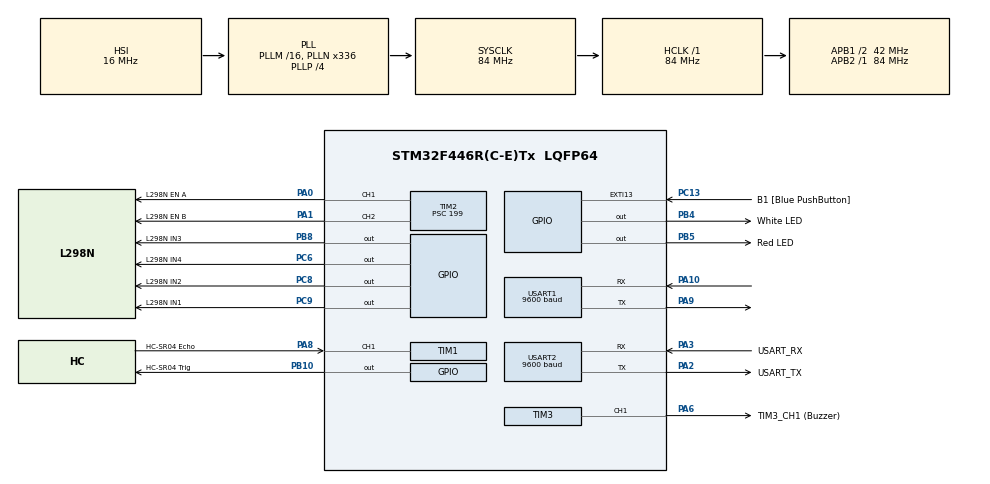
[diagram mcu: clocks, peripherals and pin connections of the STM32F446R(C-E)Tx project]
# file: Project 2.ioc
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Mcu.Family=STM32F4
Mcu.Name=STM32F446R(C-E)Tx
Mcu.Package=LQFP64
NVIC.PriorityGroup=NVIC_PRIORITYGROUP_0
NVIC.TIM1_CC_IRQn=true\:0\:0\:false\:false\:true\:true\:true\:true
NVIC.USART1_IRQn=true\:0\:0\:false\:false\:true\:true\:true\:true
NVIC.USART2_IRQn=true\:0\:0\:false\:false\:true\:true\:true\:true
PA0-WKUP.GPIO_Label=L298N EN A
PA0-WKUP.Signal=S_TIM2_CH1_ETR
PA1.GPIO_Label=L298N EN B
PA1.Signal=S_TIM2_CH2
PA10.Mode=Asynchronous
PA10.Signal=USART1_RX
PA13.GPIO_Label=TMS
PA13.Mode=Serial_Wire
PA13.Signal=SYS_JTMS-SWDIO
PA14.GPIO_Label=TCK
PA14.Mode=Serial_Wire
PA14.Signal=SYS_JTCK-SWCLK
PA2.GPIO_Label=USART_TX
PA2.Mode=Asynchronous
PA2.Signal=USART2_TX
PA3.GPIO_Label=USART_RX
PA3.Mode=Asynchronous
PA3.Signal=USART2_RX
PA6.GPIO_Label=TIM3_CH1 (Buzzer)
PA6.Signal=S_TIM3_CH1
PA8.GPIO_Label=HC-SR04 Echo
PA8.Signal=S_TIM1_CH1
PA9.Mode=Asynchronous
PA9.Signal=USART1_TX
PB10.GPIO_Label=HC-SR04 Trig
PB10.Signal=GPIO_Output
PB3.GPIO_Label=SWO
PB3.Signal=SYS_JTDO-SWO
PB4.GPIO_Label=White LED 
PB4.Signal=GPIO_Output
PB5.GPIO_Label=Red LED
PB5.Signal=GPIO_Output
PB8.GPIO_Label=L298N IN3
PB8.Signal=GPIO_Output
PC13.GPIO_Label=B1 [Blue PushButton]
PC13.GPIO_ModeDefaultEXTI=GPIO_MODE_IT_FALLING
PC13.Signal=GPXTI13
PC14-OSC32_IN.Signal=RCC_OSC32_IN
PC15-OSC32_OUT.Signal=RCC_OSC32_OUT
PC6.GPIO_Label=L298N IN4
PC6.Signal=GPIO_Output
PC8.GPIO_Label=L298N IN2
PC8.Signal=GPIO_Output
PC9.GPIO_Label=L298N IN1
PC9.Signal=GPIO_Output
PH0-OSC_IN.Mode=HSE-External-Oscillator
PH0-OSC_IN.Signal=RCC_OSC_IN
PH1-OSC_OUT.Mode=HSE-External-Oscillator
PH1-OSC_OUT.Signal=RCC_OSC_OUT
ProjectManager.HeapSize=0x200
ProjectManager.StackSize=0x400
ProjectManager.TargetToolchain=STM32CubeIDE
RCC.48MHZClocksFreq_Value=84000000
RCC.AHBFreq_Value=84000000
RCC.APB1CLKDivider=RCC_HCLK_DIV2
RCC.APB1Freq_Value=42000000
RCC.APB1TimFreq_Value=84000000
RCC.APB2Freq_Value=84000000
RCC.APB2TimFreq_Value=84000000
RCC.CortexFreq_Value=84000000
RCC.FLatency-AdvancedSettings=FLASH_LATENCY_2
RCC.HCLKFreq_Value=84000000
RCC.HSE_VALUE=8000000
RCC.HSI_VALUE=16000000
RCC.PLLN=336
RCC.PLLP=RCC_PLLP_DIV4
RCC.SYSCLKFreq_VALUE=84000000
RCC.SYSCLKSource=RCC_SYSCLKSOURCE_PLLCLK
RCC.USBFreq_Value=168000000
RCC.VCOOutputFreq_Value=336000000
SH.S_TIM1_CH1.0=TIM1_CH1,Input_Capture1_from_TI1
SH.S_TIM2_CH1_ETR.0=TIM2_CH1,PWM Generation1 CH1
SH.S_TIM2_CH2.0=TIM2_CH2,PWM Generation2 CH2
SH.S_TIM3_CH1.0=TIM3_CH1,PWM Generation1 CH1
TIM1.Channel-Input_Capture1_from_TI1=TIM_CHANNEL_1
TIM1.Period=0xffff-1
TIM1.Prescaler=84-1
TIM2.Channel-PWM\ Generation1\ CH1=TIM_CHANNEL_1
TIM2.Channel-PWM\ Generation2\ CH2=TIM_CHANNEL_2
TIM2.Period=839
TIM2.Prescaler=199
TIM3.Channel-PWM\ Generation1\ CH1=TIM_CHANNEL_1
TIM3.Prescaler=83
USART1.BaudRate=9600
USART1.VirtualMode=VM_ASYNC
USART2.BaudRate=9600
USART2.VirtualMode=VM_ASYNC
VP_TIM1_VS_ClockSourceINT.Mode=Internal
VP_TIM2_VS_ClockSourceINT.Mode=Internal
VP_TIM3_VS_ClockSourceINT.Mode=Internal
board=NUCLEO-F446RE

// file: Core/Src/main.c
/* USER CODE BEGIN Header */
/**
 ******************************************************************************
 * @file           : main.c
 * @brief          : Main program body
 ******************************************************************************
 * @attention
 *
 * Copyright (c) 2026 STMicroelectronics.
 * All rights reserved.
 *
 * This software is licensed under terms that can be found in the LICENSE file
 * in the root directory of this software component.
 * If no LICENSE file comes with this software, it is provided AS-IS.
 *
 ******************************************************************************
 */
/* USER CODE END Header */
#include "main.h"

/* USER CODE BEGIN Includes */
#include <stdio.h>
#include <string.h>
#include <stdint.h>
/* USER CODE END Includes */

/* USER CODE BEGIN PD */
#define HCSR04_Echo_Port GPIOA
#define HCSR04_Echo_Pin GPIO_PIN_8

#define HCSR04_Trig_Port GPIOB
#define HCSR04_Trig_Pin GPIO_PIN_10

#define L298N_IN1_Port GPIOC
#define L298N_IN1_Pin GPIO_PIN_9

#define L298N_IN2_Port GPIOC
#define L298N_IN2_Pin GPIO_PIN_8

#define L298N_IN3_Port GPIOB
#define L298N_IN3_Pin GPIO_PIN_8

#define L298N_IN4_Port GPIOC
#define L298N_IN4_Pin GPIO_PIN_6

#define White_LED_Port GPIOB
#define White_LED_Pin GPIO_PIN_4

#define Red_LED_Port GPIOB
#define Red_LED_Pin GPIO_PIN_5

// Define PI for the degree-to-radian conversion
#define MAX_STEP 40
#define REVERSE_DEADTIME 15

// Maximum distance allowed from ultrasonic sensor for car to stop
#define MAXIMUM_DISTANCE 15
#define MIN_CCR 330

typedef struct {
	uint16_t CCR;
	uint8_t backwardsFlag;
	uint8_t deadtime;
} Movement;

/* USER CODE END PD */

TIM_HandleTypeDef htim1;
TIM_HandleTypeDef htim2;
TIM_HandleTypeDef htim3;

UART_HandleTypeDef huart1;
UART_HandleTypeDef huart2;

/* USER CODE BEGIN PV */
// Variables for bluetooth (HC-05) communication
uint8_t rxBuffer[10];
uint8_t rxReadyFlag = 0;
uint8_t byteCount = 0;

// Variables for ultrasonic sensor (HC-SR04)
uint8_t firstCaptureFlag = 0;
uint16_t timeValue1;
uint16_t timeValue2;
float difference;
uint8_t distance;

// Class containing CCR, direction and deadtime of each wheel side
Movement leftMovement;
Movement rightMovement;

// target CCR and movement direction
uint16_t targetLeftCCR;
uint16_t targetRightCCR;
uint8_t leftBackwardsFlag;
uint8_t rightBackwardsFlag;

// Timer tracking variable
uint32_t lastUltrasonicTime = 0;
uint32_t lastRampTime = 0;
/* USER CODE END PV */

void SystemClock_Config(void);
static void MX_GPIO_Init(void);
static void MX_USART2_UART_Init(void);
static void MX_TIM2_Init(void);
static void MX_USART1_UART_Init(void);
static void MX_TIM3_Init(void);
static void MX_TIM1_Init(void);

/* USER CODE BEGIN 0 */
int _write(int file, char *ptr, int len) {
	for (int i = 0; i < len; i++) {
		ITM_SendChar((*ptr++));
	}

	return len;
}

void set_frequency(uint32_t frequency) {

	uint32_t timer_clk = 1000000; // 1 MHz

	uint32_t arr = (timer_clk / frequency) - 1;

	__HAL_TIM_SET_AUTORELOAD(&htim3, arr);
	__HAL_TIM_SET_COMPARE(&htim3, TIM_CHANNEL_1, arr / 2);
}

void buzzer_ring() {
	HAL_TIM_PWM_Start(&htim3, TIM_CHANNEL_1);

	set_frequency(2500);
}

void buzzer_stop() {
	HAL_TIM_PWM_Stop(&htim3, TIM_CHANNEL_1);
}

void delay(uint16_t time) {
	__HAL_TIM_SET_COUNTER(&htim1, 0);

	while (__HAL_TIM_GET_COUNTER (&htim1) < time)
		;
}

void HCSR04_Read()
{
	HAL_GPIO_WritePin(HCSR04_Trig_Port, HCSR04_Trig_Pin, GPIO_PIN_SET);  // pull the TRIG pin HIGH
	delay(10);  // wait for 10 us
	HAL_GPIO_WritePin(HCSR04_Trig_Port, HCSR04_Trig_Pin, GPIO_PIN_RESET);  // pull the TRIG pin low

	__HAL_TIM_ENABLE_IT(&htim1, TIM_IT_CC1);
}

void ramp_left_motors(Movement *leftSide, uint16_t target, uint8_t backwardsFlag)
{
	// if sudden change in direction
	if ((backwardsFlag == 0 && leftSide->backwardsFlag == 1)
			|| (backwardsFlag == 1 && leftSide->backwardsFlag == 0))
			{

		// If ALREADY stopped, we can flip the direction flag safely right away
		if (leftSide->CCR == 0) {
			leftSide->backwardsFlag = backwardsFlag;
		}
		// If STILL MOVING, force target to 0 and trigger deadtime.
		else {
			target = 0;
			leftSide->deadtime = REVERSE_DEADTIME;
		}

	}

	// Give multiple cycles for motors speed to go to zero before changing direction
	if (leftSide->deadtime > 0) {
		target = 0;
		leftSide->deadtime--;

		if (leftSide->deadtime == 0 || leftSide->CCR == 0) {
			leftSide->backwardsFlag = backwardsFlag;
		}
	}

//	if (leftSide->deadtime == 0)
//			{
//		leftSide->backwardsFlag = backwardsFlag;
//	}

//	Ramping
	int16_t difference = target - leftSide->CCR;
	if (difference > MAX_STEP) {
		leftSide->CCR += MAX_STEP; // Ramping Up
	} else if (difference < -MAX_STEP) {
		leftSide->CCR -= MAX_STEP; // Ramping Down
	} else {
		leftSide->CCR = target; // Close enough, snap directly to target
	}

//	Toggle the GPIO and PWM pins base on direction / CCR
	TIM2->CCR1 = leftSide->CCR;

	// Stop
	if (leftSide->CCR == 0) {
		HAL_GPIO_WritePin(L298N_IN3_GPIO_Port, L298N_IN3_Pin, GPIO_PIN_RESET);
		HAL_GPIO_WritePin(L298N_IN4_GPIO_Port, L298N_IN4_Pin, GPIO_PIN_RESET);
	}
	//	Move forward
	else if (leftSide->backwardsFlag == 0)
			{
		HAL_GPIO_WritePin(L298N_IN3_GPIO_Port, L298N_IN3_Pin, GPIO_PIN_RESET);
		HAL_GPIO_WritePin(L298N_IN4_GPIO_Port, L298N_IN4_Pin, GPIO_PIN_SET);
	}
	//	Move backwards
	else if (leftSide->backwardsFlag == 1)
			{
		HAL_GPIO_WritePin(L298N_IN3_GPIO_Port, L298N_IN3_Pin, GPIO_PIN_SET);
		HAL_GPIO_WritePin(L298N_IN4_GPIO_Port, L298N_IN4_Pin, GPIO_PIN_RESET);
	}

}

void ramp_right_motors(Movement *rightSide, uint16_t target, uint8_t backwardsFlag)
{
	// if sudden change in direction
	if ((backwardsFlag == 0 && rightSide->backwardsFlag == 1)
			|| (backwardsFlag == 1 && rightSide->backwardsFlag == 0))
			{

		// If ALREADY stopped, we can flip the direction flag safely right away
		if (rightSide->CCR == 0) {
			rightSide->backwardsFlag = backwardsFlag;
		}
		// If STILL MOVING, force target to 0 and trigger deadtime.
		else {
			target = 0;
			rightSide->deadtime = REVERSE_DEADTIME;
		}

	}

	// Give multiple cycles for motors speed to go to zero before changing direction
	if (rightSide->deadtime > 0) {
		target = 0;
		rightSide->deadtime--;

		if (rightSide->deadtime == 0 || rightSide->CCR == 0) {
			rightSide->backwardsFlag = backwardsFlag;
		}
	}

//	Ramping
	int16_t difference = target - rightSide->CCR;
	if (difference > MAX_STEP) {
		rightSide->CCR += MAX_STEP; // Ramping Up
	} else if (difference < -MAX_STEP) {
		rightSide->CCR -= MAX_STEP; // Ramping Down
	} else {
		rightSide->CCR = target; // Close enough, snap directly to target
	}

//	Toggle the GPIO and PWM pins base on direction / CCR
	TIM2->CCR2 = rightSide->CCR;

	// Stop
	if (rightSide->CCR == 0) {
		HAL_GPIO_WritePin(L298N_IN1_GPIO_Port, L298N_IN1_Pin, GPIO_PIN_RESET);
		HAL_GPIO_WritePin(L298N_IN2_GPIO_Port, L298N_IN2_Pin, GPIO_PIN_RESET);
	}
	//	Move forward
	else if (rightSide->backwardsFlag == 0)
			{
		HAL_GPIO_WritePin(L298N_IN1_GPIO_Port, L298N_IN1_Pin, GPIO_PIN_RESET);
		HAL_GPIO_WritePin(L298N_IN2_GPIO_Port, L298N_IN2_Pin, GPIO_PIN_SET);
	}
	//	Move backwards
	else if (rightSide->backwardsFlag == 1)
			{
		HAL_GPIO_WritePin(L298N_IN1_GPIO_Port, L298N_IN1_Pin, GPIO_PIN_SET);
		HAL_GPIO_WritePin(L298N_IN2_GPIO_Port, L298N_IN2_Pin, GPIO_PIN_RESET);
	}
}

/* USER CODE END 0 */

int main(void)
{

  /* MCU Configuration--------------------------------------------------------*/

  /* Reset of all peripherals, Initializes the Flash interface and the Systick. */
  HAL_Init();

  /* Configure the system clock */
  SystemClock_Config();

  /* Initialize all configured peripherals */
  MX_GPIO_Init();
  MX_USART2_UART_Init();
  MX_TIM2_Init();
  MX_USART1_UART_Init();
  MX_TIM3_Init();
  MX_TIM1_Init();
  /* USER CODE BEGIN 2 */

	HAL_UART_Receive_IT(&huart1, rxBuffer, 1);

	HAL_TIM_PWM_Start(&htim2, TIM_CHANNEL_1);
	HAL_TIM_PWM_Start(&htim2, TIM_CHANNEL_2);
	HAL_TIM_IC_Start_IT(&htim1, TIM_CHANNEL_1);
  /* USER CODE END 2 */

  /* Infinite loop */
  /* USER CODE BEGIN WHILE */
	while (1) {

//		HCSR04_Read();
//
//		printf("Time values: %i, %i\n", timeValue1, timeValue2);
//
//		printf("Difference: %f\n", difference);
//		printf("Distance: %i\n", distance);

		if (rxReadyFlag == 1) {

//			Logic for joystick
			if (rxBuffer[0] == 1) {

//				speed used to determine PWM duty cycle
				targetLeftCCR = ((uint32_t) (rxBuffer[1] % 126) * 839) / 125;
				targetRightCCR = ((uint32_t) (rxBuffer[2] % 126) * 839) / 125;

//				Determine the direction based on the target CCR.
				//				0 -> 125 : Forward
				//				126 -> 251 : Backward
				leftBackwardsFlag = (rxBuffer[1] > 125) ? 1 : 0;
				rightBackwardsFlag = (rxBuffer[2] > 125) ? 1 : 0;

//				Ceiling function for CCR below 200 except 0. (Prevent motor from not spinning at low CCR)
				targetLeftCCR = ((targetLeftCCR < MIN_CCR) && (targetLeftCCR != 0)) ? MIN_CCR : targetLeftCCR;
				targetRightCCR = ((targetRightCCR < MIN_CCR) && (targetRightCCR != 0)) ? MIN_CCR : targetRightCCR;

				rxReadyFlag = 0;
			}

//			Logic for horn
			if (rxBuffer[0] == 2) {
//				Start horn
				if (rxBuffer[1] == 1) {
					buzzer_ring();
				}
				//				Stop horn
				else if (rxBuffer[1] == 0) {
					buzzer_stop();
					//			Reset processing flag
					rxReadyFlag = 0;
				}

			}

			//			Logic for light
			if (rxBuffer[0] == 3) {

				//				Start light
				if (rxBuffer[1] == 1) {
					HAL_GPIO_WritePin(White_LED_Port, White_LED_Pin, GPIO_PIN_SET);
				}
				//				Stop light
				else if (rxBuffer[1] == 0) {
					HAL_GPIO_WritePin(White_LED_Port, White_LED_Pin, GPIO_PIN_RESET);

				}
				//			Reset processing flag
				rxReadyFlag = 0;

			}
		}

		if (HAL_GetTick() - lastUltrasonicTime >= 60)
				{
			lastUltrasonicTime = HAL_GetTick();
			HCSR04_Read();
		}

		if (HAL_GetTick() - lastRampTime >= 20) {
			lastRampTime = HAL_GetTick();

			uint16_t finalLeftTarget = targetLeftCCR;
			uint16_t finalRightTarget = targetRightCCR;

//			If moving forward but distance is less than 15cm, stop the car and sound buzzer
			if (distance < 15 && leftBackwardsFlag == 0 && rightBackwardsFlag == 0) {
				finalLeftTarget = 0;
				finalRightTarget = 0;
				buzzer_ring();
				HAL_GPIO_WritePin(Red_LED_Port, Red_LED_Pin, GPIO_PIN_SET);

			} else if (distance >= 15) {
				buzzer_stop();
				HAL_GPIO_WritePin(Red_LED_Port, Red_LED_Pin, GPIO_PIN_RESET);
			}

//			printf("%i %i %i %i\r\n", leftMovement.CCR, leftMovement.backwardsFlag, rightMovement.CCR, rightMovement.backwardsFlag);
			// Step the ramping functions once every 20 milliseconds
			ramp_left_motors(&leftMovement, finalLeftTarget, leftBackwardsFlag);
			ramp_right_motors(&rightMovement, finalRightTarget, rightBackwardsFlag);
		}

    /* USER CODE END WHILE */

	}
}

void SystemClock_Config(void)
{
  RCC_OscInitTypeDef RCC_OscInitStruct = {0};
  RCC_ClkInitTypeDef RCC_ClkInitStruct = {0};

  /** Configure the main internal regulator output voltage
  */
  __HAL_RCC_PWR_CLK_ENABLE();
  __HAL_PWR_VOLTAGESCALING_CONFIG(PWR_REGULATOR_VOLTAGE_SCALE3);

  /** Initializes the RCC Oscillators according to the specified parameters
  * in the RCC_OscInitTypeDef structure.
  */
  RCC_OscInitStruct.OscillatorType = RCC_OSCILLATORTYPE_HSI;
  RCC_OscInitStruct.HSIState = RCC_HSI_ON;
  RCC_OscInitStruct.HSICalibrationValue = RCC_HSICALIBRATION_DEFAULT;
  RCC_OscInitStruct.PLL.PLLState = RCC_PLL_ON;
  RCC_OscInitStruct.PLL.PLLSource = RCC_PLLSOURCE_HSI;
  RCC_OscInitStruct.PLL.PLLM = 16;
  RCC_OscInitStruct.PLL.PLLN = 336;
  RCC_OscInitStruct.PLL.PLLP = RCC_PLLP_DIV4;
  RCC_OscInitStruct.PLL.PLLQ = 2;
  RCC_OscInitStruct.PLL.PLLR = 2;
  if (HAL_RCC_OscConfig(&RCC_OscInitStruct) != HAL_OK)
  {
    Error_Handler();
  }

  /** Initializes the CPU, AHB and APB buses clocks
  */
  RCC_ClkInitStruct.ClockType = RCC_CLOCKTYPE_HCLK|RCC_CLOCKTYPE_SYSCLK
                              |RCC_CLOCKTYPE_PCLK1|RCC_CLOCKTYPE_PCLK2;
  RCC_ClkInitStruct.SYSCLKSource = RCC_SYSCLKSOURCE_PLLCLK;
  RCC_ClkInitStruct.AHBCLKDivider = RCC_SYSCLK_DIV1;
  RCC_ClkInitStruct.APB1CLKDivider = RCC_HCLK_DIV2;
  RCC_ClkInitStruct.APB2CLKDivider = RCC_HCLK_DIV1;

  if (HAL_RCC_ClockConfig(&RCC_ClkInitStruct, FLASH_LATENCY_2) != HAL_OK)
  {
    Error_Handler();
  }
}

static void MX_TIM1_Init(void)
{

  TIM_ClockConfigTypeDef sClockSourceConfig = {0};
  TIM_MasterConfigTypeDef sMasterConfig = {0};
  TIM_IC_InitTypeDef sConfigIC = {0};

  htim1.Instance = TIM1;
  htim1.Init.Prescaler = 84-1;
  htim1.Init.CounterMode = TIM_COUNTERMODE_UP;
  htim1.Init.Period = 0xffff-1;
  htim1.Init.ClockDivision = TIM_CLOCKDIVISION_DIV1;
  htim1.Init.RepetitionCounter = 0;
  htim1.Init.AutoReloadPreload = TIM_AUTORELOAD_PRELOAD_DISABLE;
  if (HAL_TIM_Base_Init(&htim1) != HAL_OK)
  {
    Error_Handler();
  }
  sClockSourceConfig.ClockSource = TIM_CLOCKSOURCE_INTERNAL;
  if (HAL_TIM_ConfigClockSource(&htim1, &sClockSourceConfig) != HAL_OK)
  {
    Error_Handler();
  }
  if (HAL_TIM_IC_Init(&htim1) != HAL_OK)
  {
    Error_Handler();
  }
  sMasterConfig.MasterOutputTrigger = TIM_TRGO_RESET;
  sMasterConfig.MasterSlaveMode = TIM_MASTERSLAVEMODE_DISABLE;
  if (HAL_TIMEx_MasterConfigSynchronization(&htim1, &sMasterConfig) != HAL_OK)
  {
    Error_Handler();
  }
  sConfigIC.ICPolarity = TIM_INPUTCHANNELPOLARITY_RISING;
  sConfigIC.ICSelection = TIM_ICSELECTION_DIRECTTI;
  sConfigIC.ICPrescaler = TIM_ICPSC_DIV1;
  sConfigIC.ICFilter = 0;
  if (HAL_TIM_IC_ConfigChannel(&htim1, &sConfigIC, TIM_CHANNEL_1) != HAL_OK)
  {
    Error_Handler();
  }

}

static void MX_TIM2_Init(void)
{

  TIM_ClockConfigTypeDef sClockSourceConfig = {0};
  TIM_MasterConfigTypeDef sMasterConfig = {0};
  TIM_OC_InitTypeDef sConfigOC = {0};

  htim2.Instance = TIM2;
  htim2.Init.Prescaler = 199;
  htim2.Init.CounterMode = TIM_COUNTERMODE_UP;
  htim2.Init.Period = 839;
  htim2.Init.ClockDivision = TIM_CLOCKDIVISION_DIV1;
  htim2.Init.AutoReloadPreload = TIM_AUTORELOAD_PRELOAD_DISABLE;
  if (HAL_TIM_Base_Init(&htim2) != HAL_OK)
  {
    Error_Handler();
  }
  sClockSourceConfig.ClockSource = TIM_CLOCKSOURCE_INTERNAL;
  if (HAL_TIM_ConfigClockSource(&htim2, &sClockSourceConfig) != HAL_OK)
  {
    Error_Handler();
  }
  if (HAL_TIM_PWM_Init(&htim2) != HAL_OK)
  {
    Error_Handler();
  }
  sMasterConfig.MasterOutputTrigger = TIM_TRGO_RESET;
  sMasterConfig.MasterSlaveMode = TIM_MASTERSLAVEMODE_DISABLE;
  if (HAL_TIMEx_MasterConfigSynchronization(&htim2, &sMasterConfig) != HAL_OK)
  {
    Error_Handler();
  }
  sConfigOC.OCMode = TIM_OCMODE_PWM1;
  sConfigOC.Pulse = 0;
  sConfigOC.OCPolarity = TIM_OCPOLARITY_HIGH;
  sConfigOC.OCFastMode = TIM_OCFAST_DISABLE;
  if (HAL_TIM_PWM_ConfigChannel(&htim2, &sConfigOC, TIM_CHANNEL_1) != HAL_OK)
  {
    Error_Handler();
  }
  if (HAL_TIM_PWM_ConfigChannel(&htim2, &sConfigOC, TIM_CHANNEL_2) != HAL_OK)
  {
    Error_Handler();
  }
  HAL_TIM_MspPostInit(&htim2);

}

static void MX_TIM3_Init(void)
{

  TIM_ClockConfigTypeDef sClockSourceConfig = {0};
  TIM_MasterConfigTypeDef sMasterConfig = {0};
  TIM_OC_InitTypeDef sConfigOC = {0};

  htim3.Instance = TIM3;
  htim3.Init.Prescaler = 83;
  htim3.Init.CounterMode = TIM_COUNTERMODE_UP;
  htim3.Init.Period = 65535;
  htim3.Init.ClockDivision = TIM_CLOCKDIVISION_DIV1;
  htim3.Init.AutoReloadPreload = TIM_AUTORELOAD_PRELOAD_DISABLE;
  if (HAL_TIM_Base_Init(&htim3) != HAL_OK)
  {
    Error_Handler();
  }
  sClockSourceConfig.ClockSource = TIM_CLOCKSOURCE_INTERNAL;
  if (HAL_TIM_ConfigClockSource(&htim3, &sClockSourceConfig) != HAL_OK)
  {
    Error_Handler();
  }
  if (HAL_TIM_PWM_Init(&htim3) != HAL_OK)
  {
    Error_Handler();
  }
  sMasterConfig.MasterOutputTrigger = TIM_TRGO_RESET;
  sMasterConfig.MasterSlaveMode = TIM_MASTERSLAVEMODE_DISABLE;
  if (HAL_TIMEx_MasterConfigSynchronization(&htim3, &sMasterConfig) != HAL_OK)
  {
    Error_Handler();
  }
  sConfigOC.OCMode = TIM_OCMODE_PWM1;
  sConfigOC.Pulse = 0;
  sConfigOC.OCPolarity = TIM_OCPOLARITY_HIGH;
  sConfigOC.OCFastMode = TIM_OCFAST_DISABLE;
  if (HAL_TIM_PWM_ConfigChannel(&htim3, &sConfigOC, TIM_CHANNEL_1) != HAL_OK)
  {
    Error_Handler();
  }
  HAL_TIM_MspPostInit(&htim3);

}

static void MX_USART1_UART_Init(void)
{

  huart1.Instance = USART1;
  huart1.Init.BaudRate = 9600;
  huart1.Init.WordLength = UART_WORDLENGTH_8B;
  huart1.Init.StopBits = UART_STOPBITS_1;
  huart1.Init.Parity = UART_PARITY_NONE;
  huart1.Init.Mode = UART_MODE_TX_RX;
  huart1.Init.HwFlowCtl = UART_HWCONTROL_NONE;
  huart1.Init.OverSampling = UART_OVERSAMPLING_16;
  if (HAL_UART_Init(&huart1) != HAL_OK)
  {
    Error_Handler();
  }

}

static void MX_USART2_UART_Init(void)
{

  huart2.Instance = USART2;
  huart2.Init.BaudRate = 9600;
  huart2.Init.WordLength = UART_WORDLENGTH_8B;
  huart2.Init.StopBits = UART_STOPBITS_1;
  huart2.Init.Parity = UART_PARITY_NONE;
  huart2.Init.Mode = UART_MODE_TX_RX;
  huart2.Init.HwFlowCtl = UART_HWCONTROL_NONE;
  huart2.Init.OverSampling = UART_OVERSAMPLING_16;
  if (HAL_UART_Init(&huart2) != HAL_OK)
  {
    Error_Handler();
  }

}

static void MX_GPIO_Init(void)
{
  GPIO_InitTypeDef GPIO_InitStruct = {0};

  /* GPIO Ports Clock Enable */
  __HAL_RCC_GPIOC_CLK_ENABLE();
  __HAL_RCC_GPIOH_CLK_ENABLE();
  __HAL_RCC_GPIOA_CLK_ENABLE();
  __HAL_RCC_GPIOB_CLK_ENABLE();

  /*Configure GPIO pin Output Level */
  HAL_GPIO_WritePin(GPIOB, HC_SR04_Trig_Pin|White_LED_Pin|Red_LED_Pin|L298N_IN3_Pin, GPIO_PIN_RESET);

  /*Configure GPIO pin Output Level */
  HAL_GPIO_WritePin(GPIOC, L298N_IN4_Pin|L298N_IN2_Pin|L298N_IN1_Pin, GPIO_PIN_RESET);

  /*Configure GPIO pin : B1_Pin */
  GPIO_InitStruct.Pin = B1_Pin;
  GPIO_InitStruct.Mode = GPIO_MODE_IT_FALLING;
  GPIO_InitStruct.Pull = GPIO_NOPULL;
  HAL_GPIO_Init(B1_GPIO_Port, &GPIO_InitStruct);

  /*Configure GPIO pins : HC_SR04_Trig_Pin White_LED_Pin Red_LED_Pin L298N_IN3_Pin */
  GPIO_InitStruct.Pin = HC_SR04_Trig_Pin|White_LED_Pin|Red_LED_Pin|L298N_IN3_Pin;
  GPIO_InitStruct.Mode = GPIO_MODE_OUTPUT_PP;
  GPIO_InitStruct.Pull = GPIO_NOPULL;
  GPIO_InitStruct.Speed = GPIO_SPEED_FREQ_LOW;
  HAL_GPIO_Init(GPIOB, &GPIO_InitStruct);

  /*Configure GPIO pins : L298N_IN4_Pin L298N_IN2_Pin L298N_IN1_Pin */
  GPIO_InitStruct.Pin = L298N_IN4_Pin|L298N_IN2_Pin|L298N_IN1_Pin;
  GPIO_InitStruct.Mode = GPIO_MODE_OUTPUT_PP;
  GPIO_InitStruct.Pull = GPIO_NOPULL;
  GPIO_InitStruct.Speed = GPIO_SPEED_FREQ_LOW;
  HAL_GPIO_Init(GPIOC, &GPIO_InitStruct);

}

/* USER CODE BEGIN 4 */

void HAL_TIM_IC_CaptureCallback(TIM_HandleTypeDef *htim) {

	if (htim->Channel == HAL_TIM_ACTIVE_CHANNEL_1) {
		if (firstCaptureFlag == 0) {
//			capture first timer counter value
			timeValue1 = HAL_TIM_ReadCapturedValue(htim, TIM_CHANNEL_1);
			firstCaptureFlag = 1;

//			Set to read falling edge
			__HAL_TIM_SET_CAPTUREPOLARITY(htim, TIM_CHANNEL_1, TIM_INPUTCHANNELPOLARITY_FALLING);

		} else if (firstCaptureFlag == 1) {
//			capture second timer counter value
			timeValue2 = HAL_TIM_ReadCapturedValue(htim, TIM_CHANNEL_1);
			firstCaptureFlag = 0;

//			Reset counter
			__HAL_TIM_SET_COUNTER(htim, 0);

			if (timeValue2 > timeValue1) {
				difference = timeValue2 - timeValue1;
			}

			else if (timeValue1 > timeValue2) {
				difference = (0xffff - timeValue1) + timeValue2;
			}

			distance = difference * .034 / 2;

// 			Set to read rising edge
			__HAL_TIM_SET_CAPTUREPOLARITY(htim, TIM_CHANNEL_1, TIM_INPUTCHANNELPOLARITY_RISING);
//			Disable timer interrupt
			__HAL_TIM_DISABLE_IT(&htim1, TIM_IT_CC1);
		}
	}
}

void HAL_UART_RxCpltCallback(UART_HandleTypeDef *huart) {

	if (huart->Instance == USART1) {

		byteCount++; // Move to the next index slot in the array

//		Joystick
		if (rxBuffer[0] == 1 && byteCount >= 3) {
			byteCount = 0;
			rxReadyFlag = 1;

//		Horn button
		} else if (rxBuffer[0] == 2 && byteCount >= 2) {
			byteCount = 0;
			rxReadyFlag = 1;
		}
		//		Light button
		else if (rxBuffer[0] == 3 && byteCount >= 2) {
			byteCount = 0;
			rxReadyFlag = 1;
		}

		// Re-enable the interrupt to listen for the next incoming byte
		HAL_UART_Receive_IT(&huart1, &rxBuffer[byteCount], 1);

	}

}
/* USER CODE END 4 */

void Error_Handler(void)
{
	__disable_irq();
	while (1) {
	}
}
